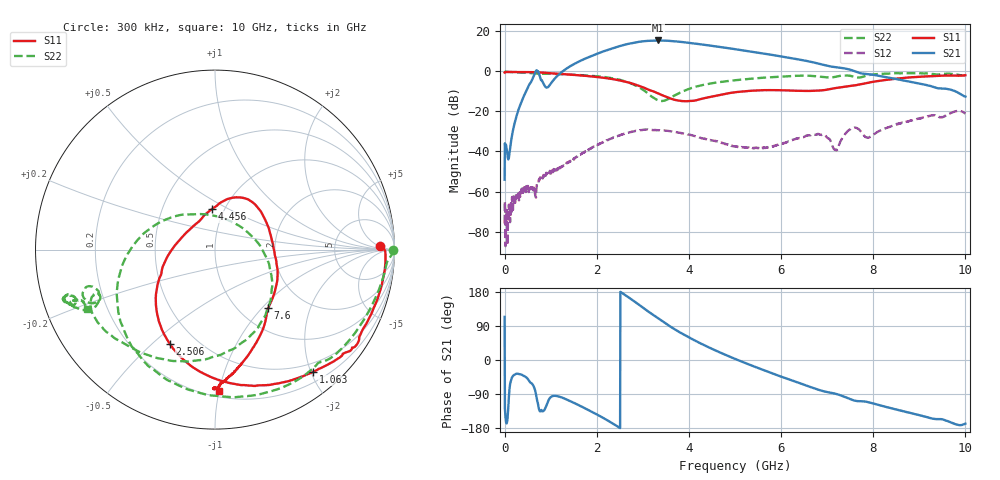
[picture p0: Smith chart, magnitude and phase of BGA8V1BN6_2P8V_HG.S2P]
!Agilent Technologies,E5071C,MY46316587,B.13.01
!Date: Tue Nov 28 12:41:03 2017
!Data & Calibration Information:
!Freq	S11:SOLT2(ON)	S21:SOLT2(ON)	S12:SOLT2(ON)	S22:SOLT2(ON)
!PortZ  Port1:50+j0  Port2:50+j0
!Above PortZ is port z conversion or system Z0 setting when saving the data.
!When reading, reference impedance value at option line is always used.
# Hz S dB R 50
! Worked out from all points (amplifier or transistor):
!   1601 points, 300 kHz to 10 GHz, reference 50 ohm
!   highest |S21| = 15.3 dB at 3.331 GHz (marker M1)
!   |S21| within 3 dB of that: 2.47 GHz to 4.597 GHz (2.127 GHz wide, 60.2 % of centre)
!   unconditionally stable (mu >= 1): start of sweep to end of sweep
!   at 1.663 GHz: K = 5.22, MAG = 13.2 dB, |S12| = -41.4 dB
!   at 5 GHz: K = 6.24, MAG = 13.2 dB, |S12| = -37.4 dB
!   at 10 GHz: K = 4.15, MAG = -4.9 dB, |S12| = -21.2 dB
!   lowest NFmin = 1.04 dB at 3.1 Hz
!   S11 on the Smith chart (normalised r, x): 300 kHz: 23, +6; 1.063 GHz: 0.35, -2.03; 2.506 GHz: 0.36, -0.57; 4.456 GHz: 0.88, +0.42; 7.6 GHz: 1.34, -1.09; 10 GHz: 0.24, -1.00
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300000  -0.70 1.2  -54.06 113.8  -75.89 15.7  -0.05 -0.1
4.252872e8  -0.52 -20.7  -12.09 -42.4  -60.48 89.7  -0.81 -29.1
6.565303e8  -0.54 -31.4  -1.04 -77.6  -61.05 111.5  -1.11 -44.0
7.690269e8  -0.67 -38.4  -3.05 -135.3  -52.90 129.1  -1.35 -49.0
1.062768e9  -1.18 -51.4  -4.41 -94.7  -48.76 127.5  -1.39 -66.0
1.669e9  -2.20 -76.8  5.36 -122.8  -41.17 139.5  -1.99 -100.4
2.125236e9  -3.26 -96.8  9.66 -151.9  -35.57 130.0  -2.87 -127.6
2.506475e9  -4.69 -115.6  12.50 -179.7  -31.93 115.3  -4.37 -154.7
2.718968e9  -5.87 -127.7  13.75 162.9  -30.44 104.0  -5.90 -173.5
2.912713e9  -7.29 -139.8  14.57 146.2  -29.52 92.7  -8.00 165.6
3.33145e9  -11.11 -168.6  15.26 109.9  -29.40 68.9  -14.56 89.5
3.3377e9  -11.17 -169.1  15.26 109.4  -29.41 68.8  -14.59 87.8
3.593942e9  -13.59 167.1  15.02 88.5  -29.94 58.1  -13.42 23.4
3.906433e9  -15.00 134.6  14.33 65.7  -31.16 48.5  -9.75 -19.7
4.456416e9  -12.88 94.1  12.71 31.9  -34.32 44.3  -6.24 -59.6
5.00015e9  -10.54 73.9  10.92 3.0  -37.43 55.2  -4.56 -88.7
5.775127e9  -9.46 51.1  8.18 -33.7  -37.54 95.1  -3.05 -124.9
6.66885e9  -9.88 10.2  4.50 -72.7  -31.64 103.6  -2.39 -155.9
7.187584e9  -8.43 -23.2  1.94 -89.4  -39.21 110.8  -2.82 -156.0
7.600072e9  -7.10 -47.8  -0.10 -107.2  -28.11 115.7  -2.89 -163.4
8.33755e9  -4.20 -72.6  -3.21 -125.6  -27.90 136.8  -1.22 -159.7
1e10  -2.06 -88.4  -12.71 -168.0  -21.17 77.6  -2.11 -155.0
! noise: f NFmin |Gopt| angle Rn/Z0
3.1  1.041  0.2843  68.09  0.1664
3.2  1.076  0.2504  68.74  0.1647
3.3  1.11  0.219  71.25  0.162
3.4  1.162  0.2109  73.18  0.1591
3.5  1.18  0.1781  64.44  0.1721
3.6  1.208  0.1726  65.15  0.1625
3.7  1.232  0.1403  62.09  0.1614
3.8  1.278  0.1106  60.64  0.1644
3.9  1.304  0.08612  59.67  0.165
4  1.351  0.05983  63.84  0.1613
